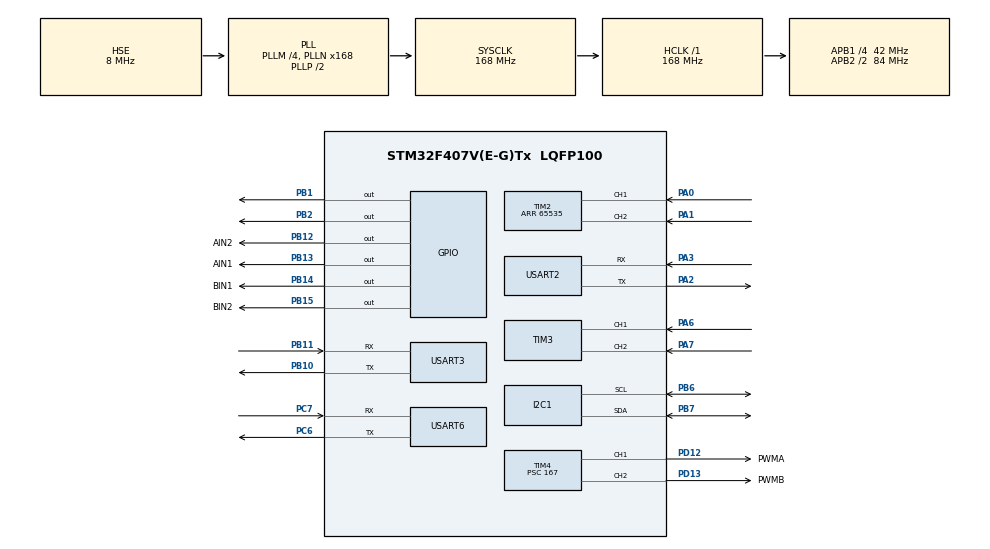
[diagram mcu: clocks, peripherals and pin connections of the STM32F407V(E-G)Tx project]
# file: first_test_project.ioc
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Mcu.Family=STM32F4
Mcu.Name=STM32F407V(E-G)Tx
Mcu.Package=LQFP100
NVIC.FPU_IRQn=true\:2\:0\:true\:false\:true\:true\:false\:true
NVIC.PriorityGroup=NVIC_PRIORITYGROUP_2
NVIC.TIM1_BRK_TIM9_IRQn=true\:1\:0\:true\:false\:true\:true\:true\:true
NVIC.TIM1_CC_IRQn=true\:1\:0\:true\:false\:true\:true\:true\:true
NVIC.TIM1_TRG_COM_TIM11_IRQn=true\:1\:0\:true\:false\:true\:true\:true\:true
NVIC.TIM1_UP_TIM10_IRQn=true\:1\:0\:true\:false\:true\:true\:true\:true
NVIC.TIM2_IRQn=true\:1\:0\:true\:false\:true\:true\:true\:true
NVIC.TIM3_IRQn=true\:1\:0\:true\:false\:true\:true\:true\:true
NVIC.TIM4_IRQn=true\:1\:0\:true\:false\:true\:true\:true\:true
NVIC.USART2_IRQn=true\:1\:0\:true\:false\:true\:true\:true\:true
NVIC.USART3_IRQn=true\:2\:0\:true\:false\:true\:true\:true\:true
NVIC.USART6_IRQn=true\:2\:0\:true\:false\:true\:true\:true\:true
PA0-WKUP.Signal=S_TIM2_CH1_ETR
PA1.Signal=S_TIM2_CH2
PA13.Mode=Serial_Wire
PA13.Signal=SYS_JTMS-SWDIO
PA14.Mode=Serial_Wire
PA14.Signal=SYS_JTCK-SWCLK
PA2.Mode=Asynchronous
PA2.Signal=USART2_TX
PA3.Mode=Asynchronous
PA3.Signal=USART2_RX
PA6.Signal=S_TIM3_CH1
PA7.Signal=S_TIM3_CH2
PB1.GPIO_ModeDefaultOutputPP=GPIO_MODE_OUTPUT_PP
PB1.GPIO_PuPd=GPIO_NOPULL
PB1.GPIO_Speed=GPIO_SPEED_FREQ_MEDIUM
PB1.PinState=GPIO_PIN_RESET
PB1.Signal=GPIO_Output
PB10.Mode=Asynchronous
PB10.Signal=USART3_TX
PB11.Mode=Asynchronous
PB11.Signal=USART3_RX
PB12.GPIO_Label=AIN2
PB12.GPIO_ModeDefaultOutputPP=GPIO_MODE_OUTPUT_PP
PB12.GPIO_PuPd=GPIO_NOPULL
PB12.GPIO_Speed=GPIO_SPEED_FREQ_MEDIUM
PB12.Signal=GPIO_Output
PB13.GPIO_Label=AIN1
PB13.GPIO_ModeDefaultOutputPP=GPIO_MODE_OUTPUT_PP
PB13.GPIO_PuPd=GPIO_NOPULL
PB13.GPIO_Speed=GPIO_SPEED_FREQ_MEDIUM
PB13.PinState=GPIO_PIN_RESET
PB13.Signal=GPIO_Output
PB14.GPIO_Label=BIN1
PB14.GPIO_Speed=GPIO_SPEED_FREQ_LOW
PB14.Signal=GPIO_Output
PB15.GPIO_Label=BIN2
PB15.GPIO_Speed=GPIO_SPEED_FREQ_LOW
PB15.Signal=GPIO_Output
PB2.GPIO_ModeDefaultOutputPP=GPIO_MODE_OUTPUT_PP
PB2.GPIO_PuPd=GPIO_NOPULL
PB2.GPIO_Speed=GPIO_SPEED_FREQ_MEDIUM
PB2.PinState=GPIO_PIN_RESET
PB2.Signal=GPIO_Output
PB6.Mode=I2C
PB6.Signal=I2C1_SCL
PB7.Mode=I2C
PB7.Signal=I2C1_SDA
PC6.Mode=Asynchronous
PC6.Signal=USART6_TX
PC7.Mode=Asynchronous
PC7.Signal=USART6_RX
PD12.GPIO_Label=PWMA
PD12.Signal=S_TIM4_CH1
PD13.GPIO_Label=PWMB
PD13.Signal=S_TIM4_CH2
PH0-OSC_IN.Mode=HSE-External-Oscillator
PH0-OSC_IN.Signal=RCC_OSC_IN
PH1-OSC_OUT.Mode=HSE-External-Oscillator
PH1-OSC_OUT.Signal=RCC_OSC_OUT
ProjectManager.HeapSize=0x200
ProjectManager.StackSize=0x400
ProjectManager.TargetToolchain=MDK-ARM V5.32
RCC.48MHZClocksFreq_Value=84000000
RCC.AHBFreq_Value=168000000
RCC.APB1CLKDivider=RCC_HCLK_DIV4
RCC.APB1Freq_Value=42000000
RCC.APB1TimFreq_Value=84000000
RCC.APB2CLKDivider=RCC_HCLK_DIV2
RCC.APB2Freq_Value=84000000
RCC.APB2TimFreq_Value=168000000
RCC.CortexFreq_Value=168000000
RCC.HCLKFreq_Value=168000000
RCC.HSE_VALUE=8000000
RCC.HSI_VALUE=16000000
RCC.LSE_VALUE=32768
RCC.PLLM=4
RCC.PLLN=168
RCC.PLLSourceVirtual=RCC_PLLSOURCE_HSE
RCC.SYSCLKFreq_VALUE=168000000
RCC.SYSCLKSource=RCC_SYSCLKSOURCE_PLLCLK
RCC.VCOOutputFreq_Value=336000000
SH.S_TIM2_CH1_ETR.0=TIM2_CH1,Encoder_Interface
SH.S_TIM2_CH2.0=TIM2_CH2,Encoder_Interface
SH.S_TIM3_CH1.0=TIM3_CH1,Encoder_Interface
SH.S_TIM3_CH2.0=TIM3_CH2,Encoder_Interface
SH.S_TIM4_CH1.0=TIM4_CH1,PWM Generation1 CH1
SH.S_TIM4_CH2.0=TIM4_CH2,PWM Generation2 CH2
TIM1.Period=199
TIM1.Prescaler=41999
TIM2.EncoderMode=TIM_ENCODERMODE_TI12
TIM2.Period=65535
TIM4.Channel-PWM\ Generation1\ CH1=TIM_CHANNEL_1
TIM4.Channel-PWM\ Generation2\ CH2=TIM_CHANNEL_2
TIM4.Period=9999
TIM4.Prescaler=167
USART2.VirtualMode=VM_ASYNC
USART3.VirtualMode=VM_ASYNC
USART6.VirtualMode=VM_ASYNC
VP_TIM1_VS_ClockSourceINT.Mode=Internal
VP_TIM4_VS_ClockSourceINT.Mode=Internal
board=custom

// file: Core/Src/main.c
/* USER CODE BEGIN Header */
/**
  ******************************************************************************
  * @file           : main.c
  * @brief          : Main program body
  ******************************************************************************
  * @attention
  *
  * Copyright (c) 2024 STMicroelectronics.
  * All rights reserved.
  *
  * This software is licensed under terms that can be found in the LICENSE file
  * in the root directory of this software component.
  * If no LICENSE file comes with this software, it is provided AS-IS.
  *
  ******************************************************************************
  */
/* USER CODE END Header */
#include "main.h"
#include "i2c.h"
#include "tim.h"
#include "usart.h"
#include "gpio.h"

/* USER CODE BEGIN Includes */
#include "oled.h"
#include "pid.h"
#include "stdio.h"

/* USER CODE END Includes */

/* USER CODE BEGIN PV */
extern uint8_t rx_buffer[rx_buffer_num];
extern enum Receive_State
{
    FIND_HEADER,
    RECEIVE_DATA,
    DATA_READY,
}UartRxState;
extern uint8_t parse_buffer[rx_buffer_num];

pid my_pid1 = { 120,0,0,0,250,10,0,0 };
uint16_t actual_1;
uint16_t actual_2;

float output_1;
float output_2;

float Last_Count = 0;

float filtered_velocity=0;

float Current_Count = 0;

float Carvelocity;

float Velocity_output;

float  total_count;
float pid_compare;
int  first_out_flag = 1;
float Encoder_Overflow_Count = 0;

/* USER CODE END PV */

void SystemClock_Config(void);

int main(void)
{

  /* MCU Configuration--------------------------------------------------------*/

  /* Reset of all peripherals, Initializes the Flash interface and the Systick. */
  HAL_Init();

  /* Configure the system clock */
  SystemClock_Config();

  /* Initialize all configured peripherals */
  MX_GPIO_Init();
  MX_TIM1_Init();
  MX_TIM2_Init();
  MX_TIM3_Init();
  MX_TIM4_Init();
  MX_USART2_UART_Init();
  MX_USART3_UART_Init();
  MX_USART6_UART_Init();
  MX_I2C1_Init();
  /* USER CODE BEGIN 2 */

  HAL_UART_Receive_IT(&huart2,rx_buffer,1);

  /* USER CODE END 2 */

  /* Infinite loop */
    while (1)
    {

    /* USER CODE BEGIN 3 */
     Openmv_Data_Process();
    }
  /* USER CODE END 3 */
}

void SystemClock_Config(void)
{
  RCC_OscInitTypeDef RCC_OscInitStruct = {0};
  RCC_ClkInitTypeDef RCC_ClkInitStruct = {0};

  /** Configure the main internal regulator output voltage
  */
  __HAL_RCC_PWR_CLK_ENABLE();
  __HAL_PWR_VOLTAGESCALING_CONFIG(PWR_REGULATOR_VOLTAGE_SCALE1);

  /** Initializes the RCC Oscillators according to the specified parameters
  * in the RCC_OscInitTypeDef structure.
  */
  RCC_OscInitStruct.OscillatorType = RCC_OSCILLATORTYPE_HSE;
  RCC_OscInitStruct.HSEState = RCC_HSE_ON;
  RCC_OscInitStruct.PLL.PLLState = RCC_PLL_ON;
  RCC_OscInitStruct.PLL.PLLSource = RCC_PLLSOURCE_HSE;
  RCC_OscInitStruct.PLL.PLLM = 4;
  RCC_OscInitStruct.PLL.PLLN = 168;
  RCC_OscInitStruct.PLL.PLLP = RCC_PLLP_DIV2;
  RCC_OscInitStruct.PLL.PLLQ = 4;
  if (HAL_RCC_OscConfig(&RCC_OscInitStruct) != HAL_OK)
  {
    Error_Handler();
  }

  /** Initializes the CPU, AHB and APB buses clocks
  */
  RCC_ClkInitStruct.ClockType = RCC_CLOCKTYPE_HCLK|RCC_CLOCKTYPE_SYSCLK
                              |RCC_CLOCKTYPE_PCLK1|RCC_CLOCKTYPE_PCLK2;
  RCC_ClkInitStruct.SYSCLKSource = RCC_SYSCLKSOURCE_PLLCLK;
  RCC_ClkInitStruct.AHBCLKDivider = RCC_SYSCLK_DIV1;
  RCC_ClkInitStruct.APB1CLKDivider = RCC_HCLK_DIV4;
  RCC_ClkInitStruct.APB2CLKDivider = RCC_HCLK_DIV2;

  if (HAL_RCC_ClockConfig(&RCC_ClkInitStruct, FLASH_LATENCY_5) != HAL_OK)
  {
    Error_Handler();
  }
}

void Error_Handler(void)
{
    __disable_irq();
    while (1)
    {
    }
}
